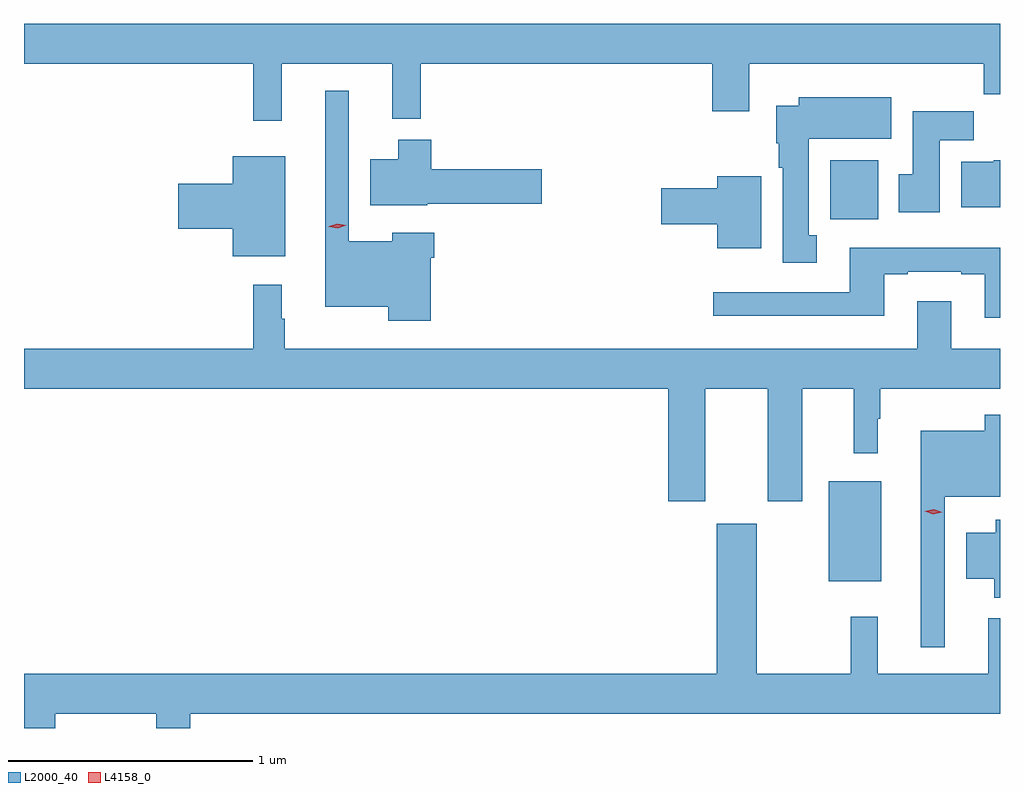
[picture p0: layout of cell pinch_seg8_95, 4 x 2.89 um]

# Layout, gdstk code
import gdstk
lib = gdstk.Library(unit=1e-6, precision=1e-09)
def R(c, l, rs):  # rectangles x0, y0, x1, y1
    for r in rs: c.add(gdstk.rectangle(r[:2], r[2:], *l))
def P(c, l, *ps):  # polygons
    for p in ps: c.add(gdstk.Polygon(p, *l))
L2000_40 = (2000, 40)
L4158_0 = (4158, 0)

pinch_seg8_95 = lib.new_cell('pinch_seg8_95')
R(pinch_seg8_95, L2000_40, [(1047.14,1121.039,1047.355,1121.449), (1047.146,1122.524,1047.343,1122.766)])
P(pinch_seg8_95, L2000_40, [(1044.899,1123.16),(1045.352,1123.16),(1045.352,1122.935),(1045.469,1122.935),(1045.469,1123.16),(1046.663,1123.16),(1046.663,1122.966),(1046.815,1122.966),(1046.815,1123.16),(1047.775,1123.16),(1047.775,1123.036),(1047.842,1123.036),(1047.842,1123.324),(1043.842,1123.324),(1043.842,1123.16),(1044.781,1123.16),(1044.781,1122.927),(1044.899,1122.927)],
  [(1045.51,1122.365),(1045.523,1122.365),(1045.523,1122.469),(1045.352,1122.469),(1045.352,1122.433),(1045.173,1122.433),(1045.173,1123.051),(1045.076,1123.051),(1045.076,1122.164),(1045.335,1122.164),(1045.335,1122.107),(1045.51,1122.107)],
  [(1047.091,1122.458),(1047.058,1122.458),(1047.058,1122.854),(1047.397,1122.854),(1047.397,1123.024),(1047.017,1123.024),(1047.017,1122.988),(1046.924,1122.988),(1046.924,1122.834),(1046.936,1122.834),(1046.936,1122.734),(1046.951,1122.734),(1046.951,1122.345),(1047.091,1122.345)],
  [(1047.595,1122.848),(1047.734,1122.848),(1047.734,1122.966),(1047.485,1122.966),(1047.485,1122.708),(1047.428,1122.708),(1047.428,1122.552),(1047.595,1122.552)],
  [(1045.494,1122.587),(1045.963,1122.587),(1045.963,1122.729),(1045.511,1122.729),(1045.511,1122.85),(1045.376,1122.85),(1045.376,1122.769),(1045.262,1122.769),(1045.262,1122.581),(1045.494,1122.581)],
  [(1044.913,1122.781),(1044.698,1122.781),(1044.698,1122.668),(1044.474,1122.668),(1044.474,1122.485),(1044.698,1122.485),(1044.698,1122.371),(1044.913,1122.371)],
  [(1047.842,1122.766),(1047.816,1122.766),(1047.816,1122.76),(1047.683,1122.76),(1047.683,1122.572),(1047.842,1122.572)],
  [(1046.863,1122.7),(1046.684,1122.7),(1046.684,1122.65),(1046.454,1122.65),(1046.454,1122.503),(1046.684,1122.503),(1046.684,1122.404),(1046.863,1122.404)],
  [(1047.842,1122.406),(1047.227,1122.406),(1047.227,1122.225),(1046.667,1122.225),(1046.667,1122.128),(1047.367,1122.128),(1047.367,1122.297),(1047.463,1122.297),(1047.463,1122.309),(1047.683,1122.309),(1047.683,1122.297),(1047.779,1122.297),(1047.779,1122.12),(1047.842,1122.12)],
  [(1046.635,1121.828),(1046.891,1121.828),(1046.891,1121.367),(1047.031,1121.367),(1047.031,1121.828),(1047.242,1121.828),(1047.242,1121.565),(1047.34,1121.565),(1047.34,1121.705),(1047.352,1121.705),(1047.352,1121.828),(1047.842,1121.828),(1047.842,1121.992),(1047.643,1121.992),(1047.643,1122.187),(1047.503,1122.187),(1047.503,1121.992),(1044.91,1121.992),(1044.91,1122.116),(1044.898,1122.116),(1044.898,1122.256),(1044.781,1122.256),(1044.781,1121.992),(1043.842,1121.992),(1043.842,1121.828),(1046.483,1121.828),(1046.483,1121.367),(1046.635,1121.367)],
  [(1047.615,1121.387),(1047.842,1121.387),(1047.842,1121.722),(1047.78,1121.722),(1047.78,1121.656),(1047.518,1121.656),(1047.518,1120.77),(1047.615,1120.77)],
  [(1047.842,1121.292),(1047.824,1121.292),(1047.824,1121.239),(1047.704,1121.239),(1047.704,1121.051),(1047.818,1121.051),(1047.818,1120.973),(1047.842,1120.973)],
  [(1043.971,1120.496),(1044.383,1120.496),(1044.383,1120.438),(1044.523,1120.438),(1044.523,1120.496),(1047.842,1120.496),(1047.842,1120.888),(1047.794,1120.888),(1047.794,1120.66),(1047.341,1120.66),(1047.341,1120.894),(1047.231,1120.894),(1047.231,1120.66),(1046.845,1120.66),(1046.845,1121.275),(1046.681,1121.275),(1046.681,1120.66),(1043.842,1120.66),(1043.842,1120.438),(1043.971,1120.438)])
P(pinch_seg8_95, L4158_0, [(1047.569,1121.314),(1047.534,1121.326),(1047.533,1121.326),(1047.534,1121.326),(1047.57,1121.334),(1047.605,1121.323),(1047.605,1121.323),(1047.605,1121.322)],
  [(1045.128,1122.486),(1045.092,1122.493),(1045.091,1122.493),(1045.092,1122.494),(1045.126,1122.506),(1045.162,1122.499),(1045.163,1122.498),(1045.162,1122.498)])

lib.write_gds('pinch_seg8_95.gds')
